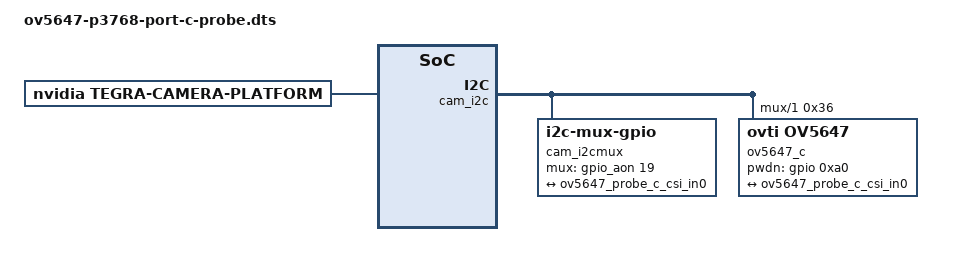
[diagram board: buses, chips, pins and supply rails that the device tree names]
/dts-v1/;
/plugin/;

/ {
	overlay-name = "OV5647 probe route C for p3768/p3767";
	jetson-header-name = "Jetson 22pin CSI Connector";
	compatible =
		"nvidia,p3768-0000+p3767-0000",
		"nvidia,p3768-0000+p3767-0001",
		"nvidia,p3768-0000+p3767-0003",
		"nvidia,p3768-0000+p3767-0004",
		"nvidia,p3768-0000+p3767-0005";

	/*
	 * Probe-oriented route-C candidate only.
	 *
	 * This is the alternate one-port, one-sensor candidate after route A
	 * probes cleanly but delivers no CSI frames. It follows NVIDIA p3768
	 * route-C camera overlays:
	 *
	 * - cam_i2cmux/i2c@1
	 * - serial_c / port-index 2 / 2 lanes
	 * - OV5647 SCCB address 0x36
	 * - GPIO token 0xa0 as the route-C PWDN candidate
	 * - lane_polarity "0" based on imx477-C and default handling in imx219-C
	 *
	 * This file is not boot-applied by default. Build and stage it only for a
	 * controlled reboot experiment with the safe profile still present.
	 */

	fragment@0 {
		target-path = "/";

		__overlay__ {
			tegra-capture-vi {
				num-channels = <1>;

				ports {
					#address-cells = <1>;
					#size-cells = <0>;

					port@1 {
						reg = <0>;

						ov5647_probe_c_vi_in0: endpoint {
							port-index = <2>;
							bus-width = <2>;
							remote-endpoint = <&ov5647_probe_c_csi_out0>;
						};
					};
				};
			};

			tegra-camera-platform {
				compatible = "nvidia, tegra-camera-platform";

				modules {
					module1 {
						badge = "probe_ov5647_route_c";
						position = "rear";
						orientation = "1";

						drivernode0 {
							pcl_id = "v4l2_sensor";
							sysfs-device-tree =
								"/sys/firmware/devicetree/base/bus@0/cam_i2cmux/i2c@1/ov5647_c@36";
						};
					};
				};
			};

			bus@0 {
				host1x@13e00000 {
					nvcsi@15a00000 {
						num-channels = <1>;
						#address-cells = <1>;
						#size-cells = <0>;

						channel@1 {
							reg = <0>;

							ports {
								#address-cells = <1>;
								#size-cells = <0>;

								port@0 {
									reg = <0>;

									ov5647_probe_c_csi_in0: endpoint@2 {
										port-index = <2>;
										bus-width = <2>;
										remote-endpoint = <&ov5647_probe_c_out0>;
									};
								};

								port@1 {
									reg = <1>;

									ov5647_probe_c_csi_out0: endpoint@3 {
										remote-endpoint = <&ov5647_probe_c_vi_in0>;
									};
								};
							};
						};
					};
				};

				cam_i2cmux {
					status = "okay";
					compatible = "i2c-mux-gpio";
					#address-cells = <1>;
					#size-cells = <0>;
					mux-gpios = <&gpio_aon 19 0>;
					i2c-parent = <&cam_i2c>;

					i2c@0 {
						status = "okay";
						reg = <0>;
						#address-cells = <1>;
						#size-cells = <0>;

						ov5647_a@36 {
							reg = <0x36>;
							status = "disabled";
						};
					};

					i2c@1 {
						status = "okay";
						reg = <1>;
						#address-cells = <1>;
						#size-cells = <0>;

						ov5647_c@36 {
							status = "okay";
							compatible = "ovti,ov5647";
							reg = <0x36>;
							devnode = "video0";
							physical_w = "3.674";
							physical_h = "2.738";
							sensor_model = "ov5647";
							use_sensor_mode_id = "true";
							mclk = "extperiph1";
							clocks = <&bpmp 0x07>;
							clock-names = "extperiph1";
							avdd-reg = "vana";
							dvdd-reg = "vdig";
							iovdd-reg = "vif";
							pwdn-gpios = <&gpio 0xa0 0>;

							mode0 {
								mclk_khz = "24000";
								num_lanes = "2";
								tegra_sinterface = "serial_c";
								lane_polarity = "0";
								phy_mode = "DPHY";
								discontinuous_clk = "yes";
								dpcm_enable = "false";
								cil_settletime = "0";
								active_w = "640";
								active_h = "480";
								mode_type = "bayer";
								pixel_phase = "bggr";
								csi_pixel_bit_depth = "10";
								readout_orientation = "0";
								line_length = "1852";
								inherent_gain = "1";
								mclk_multiplier = "2.43";
								pix_clk_hz = "58333000";
								gain_factor = "16";
								framerate_factor = "1000000";
								exposure_factor = "1000000";
								min_gain_val = "16";
								max_gain_val = "1023";
								step_gain_val = "1";
								default_gain = "32";
								min_hdr_ratio = "1";
								max_hdr_ratio = "1";
								min_framerate = "5000000";
								max_framerate = "60000000";
								step_framerate = "1";
								default_framerate = "60000000";
								min_exp_time = "13";
								max_exp_time = "16000";
								step_exp_time = "1";
								default_exp_time = "1000";
								embedded_metadata_height = "0";
							};

							ports {
								#address-cells = <1>;
								#size-cells = <0>;

								port@0 {
									reg = <0>;

									ov5647_probe_c_out0: endpoint {
										port-index = <2>;
										bus-width = <2>;
										remote-endpoint = <&ov5647_probe_c_csi_in0>;
									};
								};
							};
						};
					};
				};
			};
		};
	};
};
